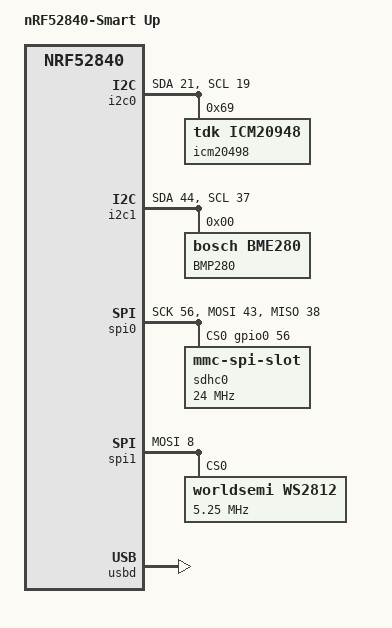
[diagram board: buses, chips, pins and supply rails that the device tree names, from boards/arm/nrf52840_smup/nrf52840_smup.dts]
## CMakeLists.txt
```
cmake_minimum_required(VERSION 3.13.1)

SET(BOARD_ROOT ${CMAKE_SOURCE_DIR})

include($ENV{ZEPHYR_BASE}/cmake/app/boilerplate.cmake NO_POLICY_SCOPE)
project(smart-up)

target_sources(app PRIVATE src/main.c)
```

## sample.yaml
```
sample:
  description: Hello World sample, the simplest Zephyr
    application
  name: hello world
common:
  tags: introduction
  harness: console
  harness_config:
    type: one_line
    regex:
      - "Hello World! (.*)"
tests:
  sample.helloworld:
    tags: introduction
  sample.sensor.icm20948:
    harness: console
    platform_whitelist: reel_board
    tags: sensors
    depends_on: i2c gpio
    harness_config:
      type: multi_line
      ordered: true
      regex:
        - "ICM20948 sample application"
      fixture: fixture_i2c_icm20948
```

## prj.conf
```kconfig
CONFIG_LOG=y
CONFIG_LOG_RUNTIME_FILTERING=y
CONFIG_LOG_BUFFER_SIZE=2048
CONFIG_LOG_PRINTK=y
CONFIG_LOG_PROCESS_TRIGGER_THRESHOLD=0
CONFIG_LOG_BACKEND_RTT=y
CONFIG_USE_SEGGER_RTT=y
CONFIG_COVERAGE=n
CONFIG_NEWLIB_LIBC=y
```

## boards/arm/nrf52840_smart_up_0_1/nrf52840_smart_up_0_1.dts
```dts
/*
 * Copyright (c) 2017 Linaro Limited
 *
 * SPDX-License-Identifier: Apache-2.0
 */

/dts-v1/;
#include <nordic/nrf52840_qiaa.dtsi>

/ {
	model = "Smart Up Revison 0.1";
	compatible = "nordic,smart_up_0_1", "nordic,nrf52840-qiaa",
		     "nordic,nrf52840";

	chosen {
		zephyr,sram = &sram0;
		zephyr,flash = &flash0;
		zephyr,code-partition = &slot0_partition;
	};

	/* These aliases are provided for compatibility with samples */
	aliases {
		buzzer = &pwm0;
		neo-pixel = &spi1;
	};
};

&adc {
	status ="ok";
};

&gpiote {
	status ="ok";
};

&gpio0 {
	status ="ok";
};

&gpio1 {
	status ="ok";
};


&pwm0 {
	status = "ok";
	ch0-pin = <15>;
	ch0-inverted;
};


&i2c0 {
	status = "ok";
	sda-pin = <5>;
	scl-pin = <26>;
	icm20948@69{
        compatible = "tdk,icm20948";
        reg = <0x69>;
        label = "icm20948";
    };
};

&spi1 {
	status = "ok";
	sck-pin = <7>;
	mosi-pin = <47>;
	miso-pin = <8>;
	ws2812@0 {
		compatible = "worldsemi,ws2812";
		reg = <0>;
		spi-max-frequency = <5250000>;
		label = "WS2812";
	};
};

&spi2 {
    status = "ok";
    sck-pin = <40>;
    mosi-pin = <21>;
    miso-pin = <16>;
    cs-gpios = <&gpio0 18 0>;

    sdhc0: sdhc@0 {
        compatible = "zephyr,mmc-spi-slot";
        status = "ok";
        reg = <0>;
        spi-max-frequency = <24000000>;
    };
};




&flash0 {
	/*
	 * For more information, see:
	 * http://docs.zephyrproject.org/latest/guides/dts/index.html#flash-partitions
	 */
	partitions {
		compatible = "fixed-partitions";
		#address-cells = <1>;
		#size-cells = <1>;

		boot_partition: partition@0 {
			label = "mcuboot";
			reg = <0x000000000 0x0000C000>;
		};
		slot0_partition: partition@c000 {
			label = "image-0";
			reg = <0x0000C000 0x000067000>;
		};
		slot1_partition: partition@73000 {
			label = "image-1";
			reg = <0x00073000 0x000067000>;
		};
		scratch_partition: partition@da000 {
			label = "image-scratch";
			reg = <0x000da000 0x0001e000>;
		};

		/*
		 * The flash starting at 0x000f8000 and ending at
		 * 0x000fffff is reserved for use by the application.
		 */

		/* Storage partition will be used by FCB/NFFS/NVS if enabled. */
		storage_partition: partition@f8000 {
			label = "storage";
			reg = <0x000f8000 0x00008000>;
		};
	};
};

&usbd {
	compatible = "nordic,nrf-usbd";
	status = "ok";
};
```

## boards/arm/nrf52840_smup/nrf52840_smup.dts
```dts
/*
 * Copyright (c) 2017 Linaro Limited
 *
 * SPDX-License-Identifier: Apache-2.0
 */

/dts-v1/;
#include <nordic/nrf52840_qiaa.dtsi>

/ {
    model = "nRF52840-Smart Up";
    compatible = "nordic,nrf52840-qiaa","nordic,nrf52840";

    chosen {
        zephyr,sram = &sram0;
        zephyr,flash = &flash0;
        zephyr,code-partition = &slot0_partition;
    };

    /* These aliases are provided for compatibility with samples */
    aliases {
        icm-20498 = &i2c0;
        bmp-280 = &i2c1;
        sd-card = &spi0;
        neo-pixel = &spi1;
    };
};

&gpio0 {
	status ="ok";
};

&gpio1 {
	status ="ok";
};

&gpiote {
	status ="ok";
};

&i2c0  {
    status = "ok";
    sda-pin = <21>;
    scl-pin = <19>;
    icm20948@15 {
        compatible = "tdk,icm20948";
        reg = <0x69>;
        label = "icm20498";
    };
};

&i2c1  {
    status = "ok";
    sda-pin = <44>;
    scl-pin = <37>;
    bmp280@76 {
        compatible = "bosch,bme280";
        reg = <0>;
        label = "BMP280";
    };

};


&spi0 {
    status = "ok";
    sck-pin = <56>;
    mosi-pin = <43>;
    miso-pin = <38>;
    cs-gpios = <&gpio0 56 0>;

    sdhc0: sdhc@0 {
        compatible = "zephyr,mmc-spi-slot";
        status = "ok";
        reg = <0>;
        spi-max-frequency = <24000000>;
    };
};

&spi1 {
    mosi-pin = <8>;
    ws2812@0 {
        compatible = "worldsemi,ws2812";
        spi-max-frequency = <5250000>;
        reg = <0>;
        label = "WS2812";
    };
};


&flash0 {
    /*
     * For more information, see:
     * http://docs.zephyrproject.org/latest/guides/dts/index.html#flash-partitions
     */
    partitions {
        compatible = "fixed-partitions";
        #address-cells = <1>;
        #size-cells = <1>;

        boot_partition: partition@0 {
            label = "mcuboot";
            reg = <0x000000000 0x0000C000>;
        };
        slot0_partition: partition@c000 {
            label = "image-0";
            reg = <0x0000C000 0x000067000>;
        };
        slot1_partition: partition@73000 {
            label = "image-1";
            reg = <0x00073000 0x000067000>;
        };
        scratch_partition: partition@da000 {
            label = "image-scratch";
            reg = <0x000da000 0x0001e000>;
        };

        /*
         * The flash starting at 0x000f8000 and ending at
         * 0x000fffff is reserved for use by the application.
         */

        /* Storage partition will be used by FCB/NFFS/NVS if enabled. */
        storage_partition: partition@f8000 {
            label = "storage";
            reg = <0x000f8000 0x00008000>;
        };
    };
};

&usbd {
    compatible = "nordic,nrf-usbd";
    status = "ok";
};
```

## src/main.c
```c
#include <errno.h>
#include <string.h>

#include <zephyr.h>
#include <device.h>
#include <sensor.h>
#include <stdio.h>
#include <misc/util.h>

#include "neo_pixel.h"

#include <logging/log.h>
LOG_MODULE_REGISTER(main);

void main(void)
{
	set_pixel_color(20,0,0);
	k_sleep(1000);
	set_pixel_color(0,0,0);
	
	struct device *dev = device_get_binding(DT_TDK_ICM20948_0_LABEL);

	if (dev == NULL) {
		printk("Could not get ICM20948 device\n");
		return;
	}

	printf("dev %p name %s\n", dev, dev->config->name);

	while (1) {
		struct sensor_value acc[3];

		sensor_sample_fetch(dev);
		sensor_channel_get(dev, SENSOR_CHAN_ACCEL_XYZ, &acc);

		printk("x: %d.%06d; y: %d.%06d; z: %d.%06d\n",
		      acc[0].val1, acc[0].val2, acc[1].val1, acc[1].val2,
		      acc[2].val1, acc[2].val2);

		k_sleep(500);

	}


	// struct device *dev = device_get_binding(DT_BOSCH_BME280_0_LABEL);

	// if (dev == NULL) {
	// 	printk("Could not get BME280 device\n");
	// 	return;
	// }

	// printf("dev %p name %s\n", dev, dev->config->name);

	// while (1) {
	// 	struct sensor_value temp, press, humidity;

	// 	sensor_sample_fetch(dev);
	// 	sensor_channel_get(dev, SENSOR_CHAN_AMBIENT_TEMP, &temp);
	// 	sensor_channel_get(dev, SENSOR_CHAN_PRESS, &press);
	// 	sensor_channel_get(dev, SENSOR_CHAN_HUMIDITY, &humidity);

	// 	printk("temp: %d.%06d; press: %d.%06d; humidity: %d.%06d\n",
	// 	      temp.val1, temp.val2, press.val1, press.val2,
	// 	      humidity.val1, humidity.val2);

	// 	k_sleep(1000);

	// }

	// printk("Startting ICM20948 device\n");
	// int cnt = 0;
	// char out_str[64];
	// struct sensor_value odr_attr;
	// struct device *icm20948_dev = device_get_binding(DT_TDK_ICM20948_0_LABEL);

	// if(icm20948_dev){
	// 	printk("could not get ICM20948 device\n");
	// }

	// struct sensor_value accel[3];
	

	// while (1) {
	// 	if(sensor_sample_fetch(icm20948_dev)){
	// 		printk("Sensor sample update error\n");
	// 		return;
	// 	}

	// 	sensor_channel_get(icm20948_dev, SENSOR_CHAN_ACCEL_XYZ, &accel);
	// 	printf("AX=%10.2f AY=%10.2f AZ=%10.2f (m/s^2)\n",
	// 			sensor_value_to_double(&accel[0]),
	// 			sensor_value_to_double(&accel[1]),
	// 			sensor_value_to_double(&accel[2]));
	// }
}
```

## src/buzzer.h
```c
#ifndef SMART_UP_NEO_BUZZER__h
#define SMART_UP_NEO_BUZZER__h

#include <zephyr.h>
#include <device.h>

#include <pwm.h>
#include <misc/util.h>

#define PWM_DRIVER DT_NORDIC_NRF_PWM_BUZZER_LABEL
#define PWM_CHANNEL DT_NORDIC_NRF_PWM_BUZZER_CH0_PIN

#define PWM_PERIOD (USEC_PER_SEC / 50U)
#define PULSE_WIDTH 500

void set_buzzer_pwm(int pulse_width){
    struct device *pwm_dev;
	pwm_dev = device_get_binding(PWM_DRIVER);
	if (!pwm_dev) {
		printk("Cannot find %s!\n", PWM_DRIVER);
		return;
	}
	if (pwm_pin_set_usec(pwm_dev, PWM_CHANNEL,PWM_PERIOD, pulse_width) {
        printk("pwm pin set fails\n");
        return;
    }
}

#endif
```

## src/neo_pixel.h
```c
#ifndef SMART_UP_NEO_PIXEL__h
#define SMART_UP_NEO_PIXEL__h

#if defined(CONFIG_WS2812_STRIP)
	#define STRIP_NAME DT_WORLDSEMI_WS2812_0_LABEL
#else
	#define STRIP_NAME CONFIG_WS2812B_SW_NAME
#endif

#include <logging/log.h>
#include <zephyr.h>
#include <led_strip.h>

struct led_rgb neo_pixel_color[1];

void set_pixel_color(uint8_t r,uint8_t g, uint8_t b){
    struct device *dev = device_get_binding(STRIP_NAME);
	if (dev) {
		printk("Found LED strip device %s \n", STRIP_NAME);
	} else {
		printk("LED strip device %s not found \n", STRIP_NAME);
		return;
	}
	neo_pixel_color[0].r = r;
	neo_pixel_color[0].g = g;
	neo_pixel_color[0].b = b;
	led_strip_update_rgb(dev, neo_pixel_color, 1);
}

#endif
```
